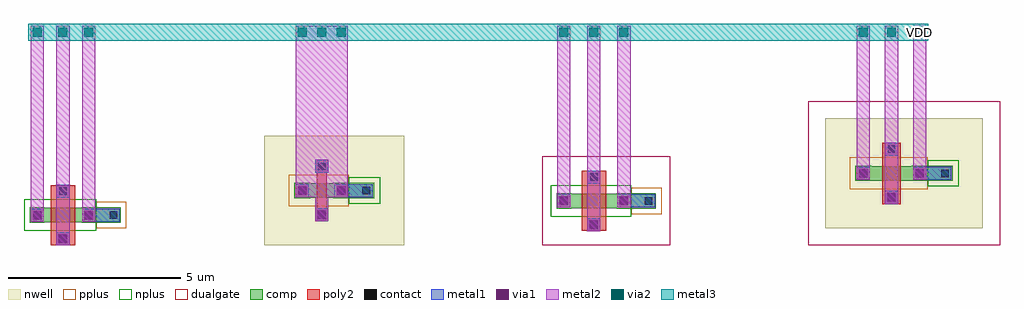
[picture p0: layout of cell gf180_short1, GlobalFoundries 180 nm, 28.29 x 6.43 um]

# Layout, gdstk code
import gdstk
lib = gdstk.Library(unit=1e-6, precision=1e-09)
def R(c, l, rs):  # rectangles x0, y0, x1, y1
    for r in rs: c.add(gdstk.rectangle(r[:2], r[2:], *l))
def A(c, l, x, y, w, h, nx, ny, dx, dy):  # array of equal rectangles
    R(c, l, [(x+i*dx, y+j*dy, x+i*dx+w, y+j*dy+h) for i in range(nx) for j in range(ny)])
def P(c, l, *ps):  # polygons
    for p in ps: c.add(gdstk.Polygon(p, *l))
nwell = (21, 0)
comp = (22, 0)
poly2 = (30, 0)
pplus = (31, 0)
nplus = (32, 0)
contact = (33, 0)
metal1 = (34, 0)
via1 = (35, 0)
metal2 = (36, 0)
via2 = (38, 0)
metal3 = (42, 0)
dualgate = (55, 0)

gf180_short1 = lib.new_cell('gf180_short1')
R(gf180_short1, nwell, [(6.97,0,11.02,3.18), (23.23,0.5,27.79,3.68)])
P(gf180_short1, comp, [(0.17,0.66),(0.17,1.1),(0.59,1.1),(0.59,1.09),(1.67,1.09),(1.67,1.1),(2.8,1.1),(2.8,0.66),(1.67,0.66),(1.67,0.67),(0.59,0.67),(0.59,0.66)],
  [(7.84,1.37),(7.84,1.81),(8.3,1.81),(8.3,1.8),(8.96,1.8),(8.96,1.81),(10.15,1.81),(10.15,1.37),(8.96,1.37),(8.96,1.38),(8.3,1.38),(8.3,1.37)],
  [(15.44,1.07),(15.44,1.51),(15.86,1.51),(15.86,1.5),(17.18,1.5),(17.18,1.51),(18.31,1.51),(18.31,1.07),(17.18,1.07),(17.18,1.08),(15.86,1.08),(15.86,1.07)],
  [(24.1,1.87),(24.1,2.31),(24.56,2.31),(24.56,2.3),(25.73,2.3),(25.73,2.31),(26.92,2.31),(26.92,1.87),(25.73,1.87),(25.73,1.88),(24.56,1.88),(24.56,1.87)])
R(gf180_short1, poly2, [(0.78,0.01,1.48,1.75), (16.17,0.42,16.87,2.16), (24.87,1.2,25.42,2.98)])
P(gf180_short1, poly2, [(8.44,0.7),(8.44,1.08),(8.49,1.08),(8.49,2.1),(8.44,2.1),(8.44,2.48),(8.82,2.48),(8.82,2.1),(8.77,2.1),(8.77,1.08),(8.82,1.08),(8.82,0.7)])
R(gf180_short1, pplus, [(2.09,0.5,2.97,1.26), (17.6,0.91,18.48,1.67), (7.67,1.13,9.42,2.05), (23.93,1.63,26.19,2.55)])
R(gf180_short1, nplus, [(0,0.42,2.09,1.34), (15.27,0.83,17.6,1.75), (9.42,1.21,10.32,1.97), (26.19,1.71,27.09,2.47)])
R(gf180_short1, contact, [(1.02,0.08,1.24,0.3), (16.41,0.49,16.63,0.71), (0.27,0.77,0.49,0.99), (1.77,0.77,1.99,0.99), (2.48,0.77,2.7,0.99), (8.52,0.78,8.74,1), (15.54,1.18,15.76,1.4), (17.28,1.18,17.5,1.4), (17.99,1.18,18.21,1.4), (25.035,1.28,25.255,1.5), (1.02,1.46,1.24,1.68), (7.96,1.48,8.18,1.7), (9.08,1.48,9.3,1.7), (9.81,1.48,10.03,1.7), (16.41,1.87,16.63,2.09), (24.22,1.98,24.44,2.2), (25.85,1.98,26.07,2.2), (26.58,1.98,26.8,2.2), (8.52,2.18,8.74,2.4), (25.035,2.68,25.255,2.9)])
R(gf180_short1, metal1, [(0.94,0,1.32,0.38), (0.94,0,1.32,0.38), (16.33,0.41,16.71,0.79), (16.33,0.41,16.71,0.79), (0.19,0.69,0.57,1.07), (0.19,0.69,0.57,1.07), (1.69,0.69,2.07,1.07), (1.69,0.69,2.07,1.07), (2.07,0.69,2.4,1.07), (2.4,0.69,2.78,1.07), (8.44,0.7,8.82,1.08), (8.44,0.7,8.82,1.08), (15.46,1.1,15.84,1.48), (15.46,1.1,15.84,1.48), (17.2,1.1,17.58,1.48), (17.2,1.1,17.58,1.48), (17.58,1.1,17.91,1.48), (17.91,1.1,18.29,1.48), (24.955,1.2,25.335,1.58), (24.955,1.2,25.335,1.58), (0.94,1.38,1.32,1.76), (7.88,1.4,8.26,1.78), (7.88,1.4,8.26,1.78), (9,1.4,9.38,1.78), (9,1.4,9.38,1.78), (9.38,1.4,9.73,1.78), (9.73,1.4,10.11,1.78), (16.33,1.79,16.71,2.17), (24.14,1.9,24.52,2.28), (24.14,1.9,24.52,2.28), (25.77,1.9,26.15,2.28), (25.77,1.9,26.15,2.28), (26.15,1.9,26.5,2.28), (26.5,1.9,26.88,2.28), (8.44,2.1,8.82,2.48), (24.955,2.6,25.335,2.98)])
R(gf180_short1, via1, [(1,0.06,1.26,0.32), (16.39,0.47,16.65,0.73), (0.25,0.75,0.51,1.01), (1.75,0.75,2.01,1.01), (8.5,0.76,8.76,1.02), (15.52,1.16,15.78,1.42), (17.26,1.16,17.52,1.42), (25.015,1.26,25.275,1.52), (7.94,1.46,8.2,1.72), (9.06,1.46,9.32,1.72), (24.2,1.96,24.46,2.22), (25.83,1.96,26.09,2.22)])
R(gf180_short1, metal2, [(0.94,0,1.32,6.37), (16.33,0.41,16.71,6.37), (0.19,0.69,0.57,6.37), (1.69,0.69,2.07,6.37), (8.44,0.7,8.82,6.37), (15.46,1.1,15.84,6.37), (17.2,1.1,17.58,6.37), (24.955,1.2,25.335,6.37), (7.88,1.4,8.26,6.37), (7.88,1.4,8.82,6.37), (8.44,1.4,9.38,6.37), (9,1.4,9.38,6.37), (24.14,1.9,24.52,6.37), (25.77,1.9,26.15,6.37)])
A(gf180_short1, via2, 0.25, 6.05, 0.26, 0.26, 3, 1, 0.75, 0)
A(gf180_short1, via2, 7.94, 6.05, 0.26, 0.26, 3, 1, 0.56, 0)
A(gf180_short1, via2, 15.52, 6.05, 0.26, 0.26, 3, 1, 0.87, 0)
A(gf180_short1, via2, 24.2, 6.05, 0.26, 0.26, 3, 1, 0.815, 0)
R(gf180_short1, metal3, [(0.13,5.93,26.21,6.43)])
R(gf180_short1, dualgate, [(15.02,0,18.73,2.58), (22.73,0,28.29,4.18)])
gf180_short1.add(gdstk.Label('VDD', (25.96,6.18), layer=42, texttype=10))

lib.write_gds('gf180_short1.gds')
